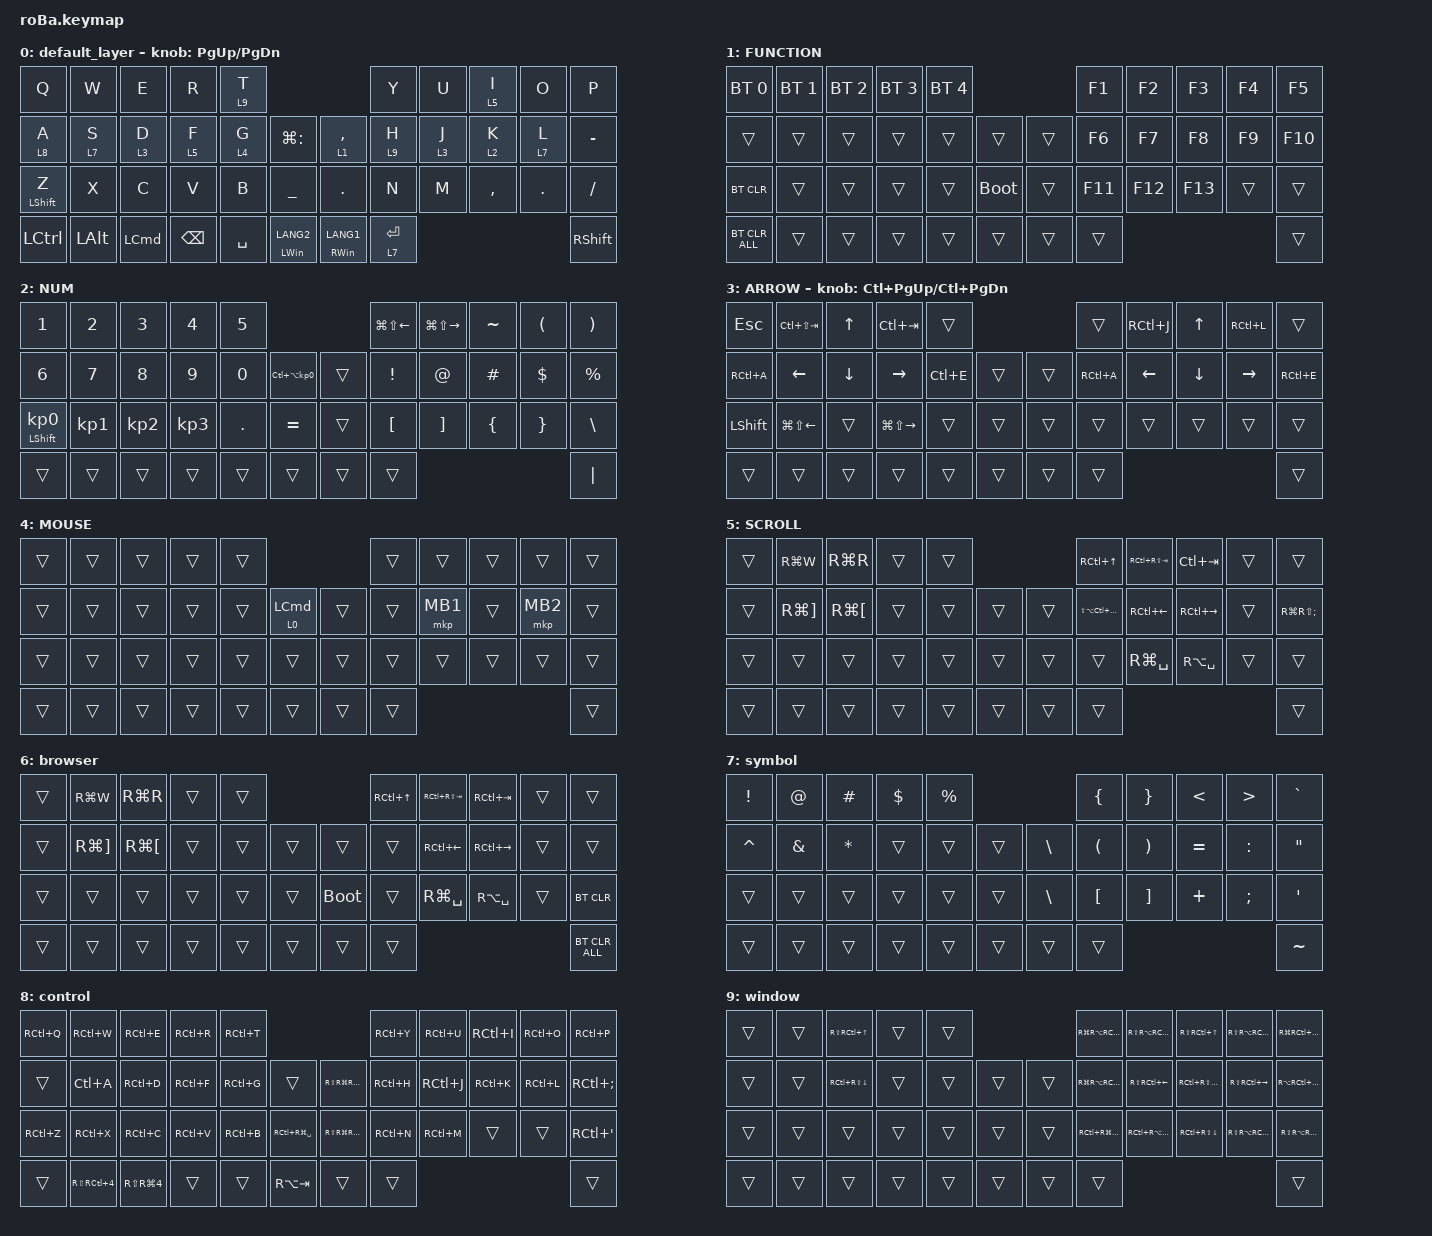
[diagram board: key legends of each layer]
#include <behaviors.dtsi>
#include <dt-bindings/zmk/bt.h>
#include <dt-bindings/zmk/keys.h>
#include <dt-bindings/zmk/pointing.h>

&mt {
    flavor = "balanced";
    quick-tap-ms = <0>;
};

/ {
    combos {
        compatible = "zmk,combos";

        tab {
            bindings = <&kp TAB>;
            key-positions = <12 13>;
        };

        shift_tab {
            bindings = <&kp LS(TAB)>;
            key-positions = <12 11>;
        };

        mouseL {
            bindings = <&mkp MB1>;
            key-positions = <18 19>;
        };

        mouseR {
            bindings = <&mkp MB2>;
            key-positions = <19 20>;
        };

        esc {
            bindings = <&kp ESCAPE>;
            key-positions = <1 2>;
        };

        caps_lock {
            bindings = <&kp CAPSLOCK>;
            key-positions = <6 5>;
        };
    };

    macros {
        to_layer_0: to_layer_0 {
            compatible = "zmk,behavior-macro-one-param";
            #binding-cells = <1>;
            bindings = <&to 0 &macro_param_1to1 &kp MACRO_PLACEHOLDER>;
            label = "TO_LAYER_0";
        };
    };

    behaviors {
        lt_to_layer_0: lt_to_layer_0 {
            compatible = "zmk,behavior-hold-tap";
            label = "LAYER_TAP_TO_0";
            bindings = <&mo>, <&to_layer_0>;

            #binding-cells = <2>;
            tapping-term-ms = <200>;
        };
    };

    keymap {
        compatible = "zmk,keymap";

        default_layer {
            bindings = <
&kp Q             &kp W         &kp E             &kp R          &lt 9 T                                                 &kp Y        &kp U    &lt 5 I    &kp O       &kp P
&lt 8 A           &lt 7 S       &lt 3 D           &lt 5 F        &lt 4 G    &kp LG(COLON)           &lt 1 COMMA          &lt 9 H      &lt 3 J  &lt 2 K    &lt 7 L     &kp MINUS
&mt LEFT_SHIFT Z  &kp X         &kp C             &kp V          &kp B      &kp UNDERSCORE          &kp PERIOD           &kp N        &kp M    &kp COMMA  &kp PERIOD  &kp SLASH
&kp LEFT_CONTROL  &kp LEFT_ALT  &kp LEFT_COMMAND  &kp BACKSPACE  &kp SPACE  &mt LEFT_WIN LANG2      &mt RIGHT_WIN LANG1  &lt 7 ENTER                                  &kp RIGHT_SHIFT
            >;

            sensor-bindings = <&inc_dec_kp PG_UP PAGE_DOWN>;
        };

        FUNCTION {
            bindings = <
&bt BT_SEL 0    &bt BT_SEL 1  &bt BT_SEL 2  &bt BT_SEL 3  &bt BT_SEL 4                           &kp F1   &kp F2   &kp F3   &kp F4  &kp F5
&trans          &trans        &trans        &trans        &trans        &trans           &trans  &kp F6   &kp F7   &kp F8   &kp F9  &kp F10
&bt BT_CLR      &trans        &trans        &trans        &trans        &bootloader      &trans  &kp F11  &kp F12  &kp F13  &trans  &trans
&bt BT_CLR_ALL  &trans        &trans        &trans        &trans        &trans           &trans  &trans                             &trans
            >;
        };

        NUM {
            bindings = <
&kp NUMBER_1                &kp NUMBER_2     &kp NUMBER_3     &kp NUMBER_4     &kp N5                                           &kp LG(LS(LEFT_ARROW))  &kp LG(LS(RIGHT_ARROW))  &kp TILDE       &kp LEFT_PARENTHESIS  &kp RIGHT_PARENTHESIS
&kp NUMBER_6                &kp N7           &kp N8           &kp N9           &kp N0      &kp LC(LA(KP_NUMBER_0))      &trans  &kp EXCLAMATION         &kp AT_SIGN              &kp HASH        &kp DOLLAR            &kp PERCENT
&mt LEFT_SHIFT KP_NUMBER_0  &kp KP_NUMBER_1  &kp KP_NUMBER_2  &kp KP_NUMBER_3  &kp PERIOD  &kp EQUAL                    &trans  &kp LEFT_BRACKET        &kp RIGHT_BRACKET        &kp LEFT_BRACE  &kp RIGHT_BRACE       &kp BACKSLASH
&trans                      &trans           &trans           &trans           &trans      &trans                       &trans  &trans                                                                                 &kp PIPE
            >;
        };

        ARROW {
            bindings = <
&kp ESCAPE      &kp LC(LS(TAB))         &kp UP_ARROW    &kp LC(TAB)              &trans                         &trans     &kp RC(J)       &kp UP_ARROW    &kp RC(L)        &trans
&kp RC(A)       &kp LEFT_ARROW          &kp DOWN_ARROW  &kp RIGHT_ARROW          &kp LC(E)  &trans      &trans  &kp RC(A)  &kp LEFT_ARROW  &kp DOWN_ARROW  &kp RIGHT_ARROW  &kp RC(E)
&kp LEFT_SHIFT  &kp LG(LS(LEFT_ARROW))  &trans          &kp LG(LS(RIGHT_ARROW))  &trans     &trans      &trans  &trans     &trans          &trans          &trans           &trans
&trans          &trans                  &trans          &trans                   &trans     &trans      &trans  &trans                                                      &trans
            >;

            sensor-bindings = <&inc_dec_kp LC(PAGE_UP) LC(PAGE_DOWN)>;
        };

        MOUSE {
            bindings = <
&trans  &trans  &trans  &trans  &trans                                             &trans  &trans    &trans  &trans    &trans
&trans  &trans  &trans  &trans  &trans  &lt_to_layer_0 0 LEFT_COMMAND      &trans  &trans  &mkp MB1  &trans  &mkp MB2  &trans
&trans  &trans  &trans  &trans  &trans  &trans                             &trans  &trans  &trans    &trans  &trans    &trans
&trans  &trans  &trans  &trans  &trans  &trans                             &trans  &trans                              &trans
            >;
        };

        SCROLL {
            bindings = <
&trans  &kp RG(W)              &kp RG(R)             &trans  &trans                      &kp RC(UP_ARROW)       &kp RC(RS(TAB))     &kp LC(TAB)          &trans  &trans
&trans  &kp RG(RIGHT_BRACKET)  &kp RG(LEFT_BRACKET)  &trans  &trans  &trans      &trans  &kp LS(LA(LC(LG(O))))  &kp RC(LEFT_ARROW)  &kp RC(RIGHT_ARROW)  &trans  &kp RG(RS(SEMICOLON))
&trans  &trans                 &trans                &trans  &trans  &trans      &trans  &trans                 &kp RG(SPACE)       &kp RA(SPACE)        &trans  &trans
&trans  &trans                 &trans                &trans  &trans  &trans      &trans  &trans                                                                  &trans
            >;
        };

        browser {
            bindings = <
&trans  &kp RG(W)              &kp RG(R)             &trans  &trans                           &kp RC(UP_ARROW)  &kp RC(RS(TAB))     &kp RC(TAB)          &trans  &trans
&trans  &kp RG(RIGHT_BRACKET)  &kp RG(LEFT_BRACKET)  &trans  &trans  &trans      &trans       &trans            &kp RC(LEFT_ARROW)  &kp RC(RIGHT_ARROW)  &trans  &trans
&trans  &trans                 &trans                &trans  &trans  &trans      &bootloader  &trans            &kp RG(SPACE)       &kp RA(SPACE)        &trans  &bt BT_CLR
&trans  &trans                 &trans                &trans  &trans  &trans      &trans       &trans                                                             &bt BT_CLR_ALL
            >;
        };

        symbol {
            bindings = <
&kp EXCLAMATION  &kp AT_SIGN    &kp HASH      &kp DOLLAR  &kp PERCENT                             &kp LEFT_BRACE        &kp RIGHT_BRACE        &kp LESS_THAN  &kp GREATER_THAN  &kp GRAVE
&kp CARET        &kp AMPERSAND  &kp ASTERISK  &trans      &trans       &trans      &kp BACKSLASH  &kp LEFT_PARENTHESIS  &kp RIGHT_PARENTHESIS  &kp EQUAL      &kp COLON         &kp DOUBLE_QUOTES
&trans           &trans         &trans        &trans      &trans       &trans      &kp BSLH       &kp LEFT_BRACKET      &kp RIGHT_BRACKET      &kp PLUS       &kp SEMI          &kp SINGLE_QUOTE
&trans           &trans         &trans        &trans      &trans       &trans      &trans         &trans                                                                        &kp TILDE
            >;
        };

        control {
            bindings = <
&kp RC(Q)  &kp RC(W)             &kp RC(E)             &kp RC(R)  &kp RC(T)                                                &kp RC(Y)  &kp RC(U)  &kp RC(I)  &kp RC(O)  &kp RC(P)
&trans     &kp LC(A)             &kp RC(D)             &kp RC(F)  &kp RC(G)  &trans                 &kp RS(RG(RA(RC(O))))  &kp RC(H)  &kp RC(J)  &kp RC(K)  &kp RC(L)  &kp RC(SEMI)
&kp RC(Z)  &kp RC(X)             &kp RC(C)             &kp RC(V)  &kp RC(B)  &kp RC(RG(SPACE))      &kp RS(RG(RA(RC(N))))  &kp RC(N)  &kp RC(M)  &trans     &trans     &kp RC(SQT)
&trans     &kp RS(RC(NUMBER_4))  &kp RS(RG(NUMBER_4))  &trans     &trans     &kp RA(TAB)            &trans                 &trans                                      &trans
            >;
        };

        window {
            bindings = <
&trans  &trans  &kp RS(RC(UP_ARROW))    &trans  &trans                      &kp RG(RA(RC(RS(LEFT_ARROW))))  &kp RS(RA(RC(LEFT_ARROW)))  &kp RS(RC(UP_ARROW))          &kp RS(RA(RC(UP_ARROW)))     &kp RG(RC(RA(RS(UP_ARROW))))
&trans  &trans  &kp RC(RS(DOWN_ARROW))  &trans  &trans  &trans      &trans  &kp RG(RA(RC(UP_ARROW)))        &kp RS(RC(LEFT_ARROW))      &kp RC(RS(RA(RG(UP_ARROW))))  &kp RS(RC(RIGHT_ARROW))      &kp RA(RC(RG(DOWN_ARROW)))
&trans  &trans  &trans                  &trans  &trans  &trans      &trans  &kp RC(RG(RA(RS(DOWN_ARROW))))  &kp RC(RA(RS(DOWN_ARROW)))  &kp RC(RS(DOWN_ARROW))        &kp RS(RA(RC(RIGHT_ARROW)))  &kp RS(RA(RG(RC(RIGHT_ARROW))))
&trans  &trans  &trans                  &trans  &trans  &trans      &trans  &trans                                                                                                                 &trans
            >;
        };
    };
};
